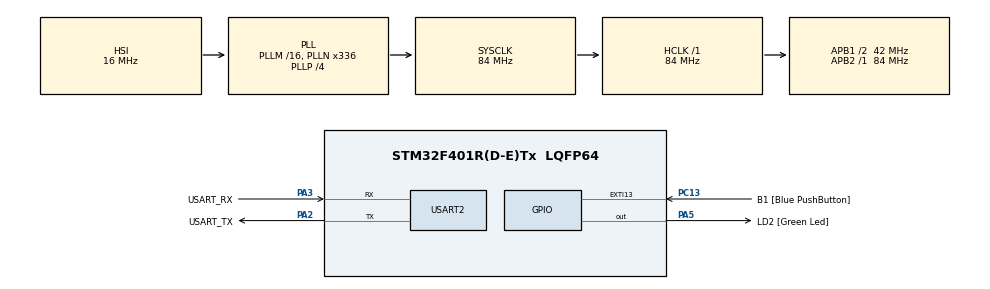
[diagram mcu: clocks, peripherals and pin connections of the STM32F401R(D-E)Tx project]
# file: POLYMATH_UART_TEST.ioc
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FREERTOS.Tasks01=defaultTask,0,128,StartDefaultTask,Default,NULL
Mcu.Family=STM32F4
Mcu.Name=STM32F401R(D-E)Tx
Mcu.Package=LQFP64
NVIC.PriorityGroup=NVIC_PRIORITYGROUP_4
PA13.GPIO_Label=TMS
PA13.Mode=Serial_Wire
PA13.Signal=SYS_JTMS-SWDIO
PA14.GPIO_Label=TCK
PA14.Mode=Serial_Wire
PA14.Signal=SYS_JTCK-SWCLK
PA2.GPIO_Label=USART_TX
PA2.GPIO_Mode=GPIO_MODE_AF_PP
PA2.GPIO_PuPd=GPIO_NOPULL
PA2.GPIO_Speed=GPIO_SPEED_FREQ_LOW
PA2.Mode=Asynchronous
PA2.Signal=USART2_TX
PA3.GPIO_Label=USART_RX
PA3.GPIO_Mode=GPIO_MODE_AF_PP
PA3.GPIO_PuPd=GPIO_NOPULL
PA3.GPIO_Speed=GPIO_SPEED_FREQ_LOW
PA3.Mode=Asynchronous
PA3.Signal=USART2_RX
PA5.GPIO_Label=LD2 [Green Led]
PA5.GPIO_Mode=GPIO_MODE_OUTPUT_PP
PA5.GPIO_PuPd=GPIO_NOPULL
PA5.GPIO_Speed=GPIO_SPEED_FREQ_LOW
PA5.Signal=GPIO_Output
PB3.GPIO_Label=SWO
PB3.Signal=SYS_JTDO-SWO
PC13-ANTI_TAMP.GPIO_Label=B1 [Blue PushButton]
PC13-ANTI_TAMP.GPIO_ModeDefaultEXTI=GPIO_MODE_IT_FALLING
PC13-ANTI_TAMP.GPIO_PuPd=GPIO_NOPULL
PC13-ANTI_TAMP.Signal=GPXTI13
PC14-OSC32_IN.Mode=LSE-External-Oscillator
PC14-OSC32_IN.Signal=RCC_OSC32_IN
PC15-OSC32_OUT.Mode=LSE-External-Oscillator
PC15-OSC32_OUT.Signal=RCC_OSC32_OUT
PH0\ -\ OSC_IN.Mode=HSE-External-Clock-Source
PH0\ -\ OSC_IN.Signal=RCC_OSC_IN
PH1\ -\ OSC_OUT.Mode=HSE-External-Clock-Source
PH1\ -\ OSC_OUT.Signal=RCC_OSC_OUT
ProjectManager.HeapSize=0x200
ProjectManager.StackSize=0x400
ProjectManager.TargetToolchain=SW4STM32
RCC.48MHZClocksFreq_Value=48000000
RCC.AHBFreq_Value=84000000
RCC.APB1CLKDivider=RCC_HCLK_DIV2
RCC.APB1Freq_Value=42000000
RCC.APB1TimFreq_Value=84000000
RCC.APB2Freq_Value=84000000
RCC.APB2TimFreq_Value=84000000
RCC.CortexFreq_Value=84000000
RCC.HCLKFreq_Value=84000000
RCC.HSE_VALUE=8000000
RCC.HSI_VALUE=16000000
RCC.PLLN=336
RCC.PLLP=RCC_PLLP_DIV4
RCC.PLLQ=7
RCC.SYSCLKFreq_VALUE=84000000
RCC.SYSCLKSource=RCC_SYSCLKSOURCE_PLLCLK
RCC.VCOOutputFreq_Value=336000000
USART2.VirtualMode=VM_ASYNC
VP_FREERTOS_VS_ENABLE.Mode=Enabled
board=NUCLEO-F401RE

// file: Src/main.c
/**
  ******************************************************************************
  * @file           : main.c
  * @brief          : Main program body
  ******************************************************************************
  * This notice applies to any and all portions of this file
  * that are not between comment pairs USER CODE BEGIN and
  * USER CODE END. Other portions of this file, whether
  * inserted by the user or by software development tools
  * are owned by their respective copyright owners.
  *
  * Copyright (c) 2021 STMicroelectronics International N.V.
  * All rights reserved.
  *
  * Redistribution and use in source and binary forms, with or without
  * modification, are permitted, provided that the following conditions are met:
  *
  * 1. Redistribution of source code must retain the above copyright notice,
  *    this list of conditions and the following disclaimer.
  * 2. Redistributions in binary form must reproduce the above copyright notice,
  *    this list of conditions and the following disclaimer in the documentation
  *    and/or other materials provided with the distribution.
  * 3. Neither the name of STMicroelectronics nor the names of other
  *    contributors to this software may be used to endorse or promote products
  *    derived from this software without specific written permission.
  * 4. This software, including modifications and/or derivative works of this
  *    software, must execute solely and exclusively on microcontroller or
  *    microprocessor devices manufactured by or for STMicroelectronics.
  * 5. Redistribution and use of this software other than as permitted under
  *    this license is void and will automatically terminate your rights under
  *    this license.
  *
  * THIS SOFTWARE IS PROVIDED BY STMICROELECTRONICS AND CONTRIBUTORS "AS IS"
  * AND ANY EXPRESS, IMPLIED OR STATUTORY WARRANTIES, INCLUDING, BUT NOT
  * LIMITED TO, THE IMPLIED WARRANTIES OF MERCHANTABILITY, FITNESS FOR A
  * PARTICULAR PURPOSE AND NON-INFRINGEMENT OF THIRD PARTY INTELLECTUAL PROPERTY
  * RIGHTS ARE DISCLAIMED TO THE FULLEST EXTENT PERMITTED BY LAW. IN NO EVENT
  * SHALL STMICROELECTRONICS OR CONTRIBUTORS BE LIABLE FOR ANY DIRECT, INDIRECT,
  * INCIDENTAL, SPECIAL, EXEMPLARY, OR CONSEQUENTIAL DAMAGES (INCLUDING, BUT NOT
  * LIMITED TO, PROCUREMENT OF SUBSTITUTE GOODS OR SERVICES; LOSS OF USE, DATA,
  * OR PROFITS; OR BUSINESS INTERRUPTION) HOWEVER CAUSED AND ON ANY THEORY OF
  * LIABILITY, WHETHER IN CONTRACT, STRICT LIABILITY, OR TORT (INCLUDING
  * NEGLIGENCE OR OTHERWISE) ARISING IN ANY WAY OUT OF THE USE OF THIS SOFTWARE,
  * EVEN IF ADVISED OF THE POSSIBILITY OF SUCH DAMAGE.
  *
  ******************************************************************************
  */
#include "main.h"
#include "stm32f4xx_hal.h"
#include "cmsis_os.h"
#include "pm_protocol.h"

/* USER CODE BEGIN Includes */
#define Error -1
#define Sucess 1
#define UART_TIMEOUT 1000
/* USER CODE END Includes */

UART_HandleTypeDef huart2;
TaskHandle_t xUartTaskhandle =NULL;

typedef enum {
	PROTOCOL_INIT_ERROR = 1,
	TASK_INIT_ERROR     = 2,

}error_type_t;

error_type_t error_state = 0;

/* USER CODE BEGIN PV */
/* Private variables ---------------------------------------------------------*/

/* USER CODE END PV */

void SystemClock_Config(void);
static void MX_GPIO_Init(void);
static void MX_USART2_UART_Init(void);
void UartTask_handler(void * argument);

/* USER CODE BEGIN PFP */
/* Private function prototypes -----------------------------------------------*/
static int pmSlaveUartTx( uint8_t * data, uint8_t length);
static int pmSlaveUartRx( uint8_t * data, uint8_t length);

/* USER CODE END PFP */

/* USER CODE BEGIN 0 */

/* USER CODE BEGIN 4 */
static int pmSlaveUartTx( uint8_t * data, uint8_t length){
	if (HAL_UART_Transmit(&huart2, data, length, UART_TIMEOUT) != HAL_OK){
		return Error;
	}
	return length;
}
static int pmSlaveUartRx( uint8_t * data, uint8_t length){
	if (HAL_UART_Receive(&huart2, data, length, UART_TIMEOUT) != HAL_OK){
		return Error;
	}
	return length;
}

const pmProtocolDriver_t uart2Driver = {
		.tx = pmSlaveUartTx,
		.rx = pmSlaveUartRx,
};

pmProtocolContext_t uart2Context;
/* USER CODE END 4 */

/* USER CODE END 0 */

int main(void)
{

  /* MCU Configuration----------------------------------------------------------*/

  /* Reset of all peripherals, Initializes the Flash interface and the Systick. */
  HAL_Init();

  /* Configure the system clock */
  SystemClock_Config();

  /* Initialize all configured peripherals */
  MX_GPIO_Init();
  MX_USART2_UART_Init();
  /* USER CODE BEGIN 2 */

  if (PM_PROTOCOL_SUCCESS != pmProtocolInit(&uart2Driver,&uart2Context)){
	  error_state = PROTOCOL_INIT_ERROR;
  }

  if (error_state > 0){
	  HAL_GPIO_TogglePin(GPIOA,LD2_Pin);
	  HAL_Delay(100);
  }

  /* USER CODE END 2 */

  /* Create the thread(s) */
  /* definition and creation of defaultTask */
  if (pdPASS != xTaskCreate(UartTask_handler, "Task-2", configMINIMAL_STACK_SIZE,NULL,2,&xUartTaskhandle)){
	  error_state = TASK_INIT_ERROR;
  }

  /* Start scheduler */
  osKernelStart();

  /* We should never get here as control is now taken by the scheduler */

  /* Infinite loop */
  while (1)
  {

  }

}

void SystemClock_Config(void)
{

  RCC_OscInitTypeDef RCC_OscInitStruct;
  RCC_ClkInitTypeDef RCC_ClkInitStruct;

    /**Configure the main internal regulator output voltage
    */
  __HAL_RCC_PWR_CLK_ENABLE();

  __HAL_PWR_VOLTAGESCALING_CONFIG(PWR_REGULATOR_VOLTAGE_SCALE2);

    /**Initializes the CPU, AHB and APB busses clocks
    */
  RCC_OscInitStruct.OscillatorType = RCC_OSCILLATORTYPE_HSI;
  RCC_OscInitStruct.HSIState = RCC_HSI_ON;
  RCC_OscInitStruct.HSICalibrationValue = 16;
  RCC_OscInitStruct.PLL.PLLState = RCC_PLL_ON;
  RCC_OscInitStruct.PLL.PLLSource = RCC_PLLSOURCE_HSI;
  RCC_OscInitStruct.PLL.PLLM = 16;
  RCC_OscInitStruct.PLL.PLLN = 336;
  RCC_OscInitStruct.PLL.PLLP = RCC_PLLP_DIV4;
  RCC_OscInitStruct.PLL.PLLQ = 7;
  if (HAL_RCC_OscConfig(&RCC_OscInitStruct) != HAL_OK)
  {
    _Error_Handler(__FILE__, __LINE__);
  }

    /**Initializes the CPU, AHB and APB busses clocks
    */
  RCC_ClkInitStruct.ClockType = RCC_CLOCKTYPE_HCLK|RCC_CLOCKTYPE_SYSCLK
                              |RCC_CLOCKTYPE_PCLK1|RCC_CLOCKTYPE_PCLK2;
  RCC_ClkInitStruct.SYSCLKSource = RCC_SYSCLKSOURCE_PLLCLK;
  RCC_ClkInitStruct.AHBCLKDivider = RCC_SYSCLK_DIV1;
  RCC_ClkInitStruct.APB1CLKDivider = RCC_HCLK_DIV2;
  RCC_ClkInitStruct.APB2CLKDivider = RCC_HCLK_DIV1;

  if (HAL_RCC_ClockConfig(&RCC_ClkInitStruct, FLASH_LATENCY_2) != HAL_OK)
  {
    _Error_Handler(__FILE__, __LINE__);
  }

    /**Configure the Systick interrupt time
    */
  HAL_SYSTICK_Config(HAL_RCC_GetHCLKFreq()/1000);

    /**Configure the Systick
    */
  HAL_SYSTICK_CLKSourceConfig(SYSTICK_CLKSOURCE_HCLK);

  /* SysTick_IRQn interrupt configuration */
  HAL_NVIC_SetPriority(SysTick_IRQn, 15, 0);
}

/* USART2 init function */
static void MX_USART2_UART_Init(void)
{

  huart2.Instance = USART2;
  huart2.Init.BaudRate = 115200;
  huart2.Init.WordLength = UART_WORDLENGTH_8B;
  huart2.Init.StopBits = UART_STOPBITS_1;
  huart2.Init.Parity = UART_PARITY_NONE;
  huart2.Init.Mode = UART_MODE_TX_RX;
  huart2.Init.HwFlowCtl = UART_HWCONTROL_NONE;
  huart2.Init.OverSampling = UART_OVERSAMPLING_16;
  if (HAL_UART_Init(&huart2) != HAL_OK)
  {
    _Error_Handler(__FILE__, __LINE__);
  }

}

/** Configure pins as
        * Analog
        * Input
        * Output
        * EVENT_OUT
        * EXTI
*/
static void MX_GPIO_Init(void)
{

  GPIO_InitTypeDef GPIO_InitStruct;

  /* GPIO Ports Clock Enable */
  __HAL_RCC_GPIOC_CLK_ENABLE();
  __HAL_RCC_GPIOH_CLK_ENABLE();
  __HAL_RCC_GPIOA_CLK_ENABLE();
  __HAL_RCC_GPIOB_CLK_ENABLE();

  /*Configure GPIO pin Output Level */
  HAL_GPIO_WritePin(LD2_GPIO_Port, LD2_Pin, GPIO_PIN_RESET);

  /*Configure GPIO pin : B1_Pin */
  GPIO_InitStruct.Pin = B1_Pin;
  GPIO_InitStruct.Mode = GPIO_MODE_IT_FALLING;
  GPIO_InitStruct.Pull = GPIO_NOPULL;
  HAL_GPIO_Init(B1_GPIO_Port, &GPIO_InitStruct);

  /*Configure GPIO pin : LD2_Pin */
  GPIO_InitStruct.Pin = LD2_Pin;
  GPIO_InitStruct.Mode = GPIO_MODE_OUTPUT_PP;
  GPIO_InitStruct.Pull = GPIO_NOPULL;
  GPIO_InitStruct.Speed = GPIO_SPEED_FREQ_LOW;
  HAL_GPIO_Init(LD2_GPIO_Port, &GPIO_InitStruct);

}

/* StartDefaultTask function */
void UartTask_handler(void * argument)
{
    pmProtocolRawPacket_t masterRx;
  /* USER CODE BEGIN 5 */
  /* Infinite loop */
	while (error_state == 0){
		TickType_t current_count = xTaskGetTickCount();
		uint32_t current_ms = current_count * 1000 / configTICK_RATE_HZ;

		pmProtocolPeriodic(current_ms,&uart2Context);

		pmProtocolReadPacket(&masterRx, &uart2Context);

	}

  for(;;)
  {
    osDelay(1);
  }
  /* USER CODE END 5 */
}

void _Error_Handler(char *file, int line)
{
  while(1)
  {
  }
}

/************************ (C) COPYRIGHT STMicroelectronics *****END OF FILE****/
